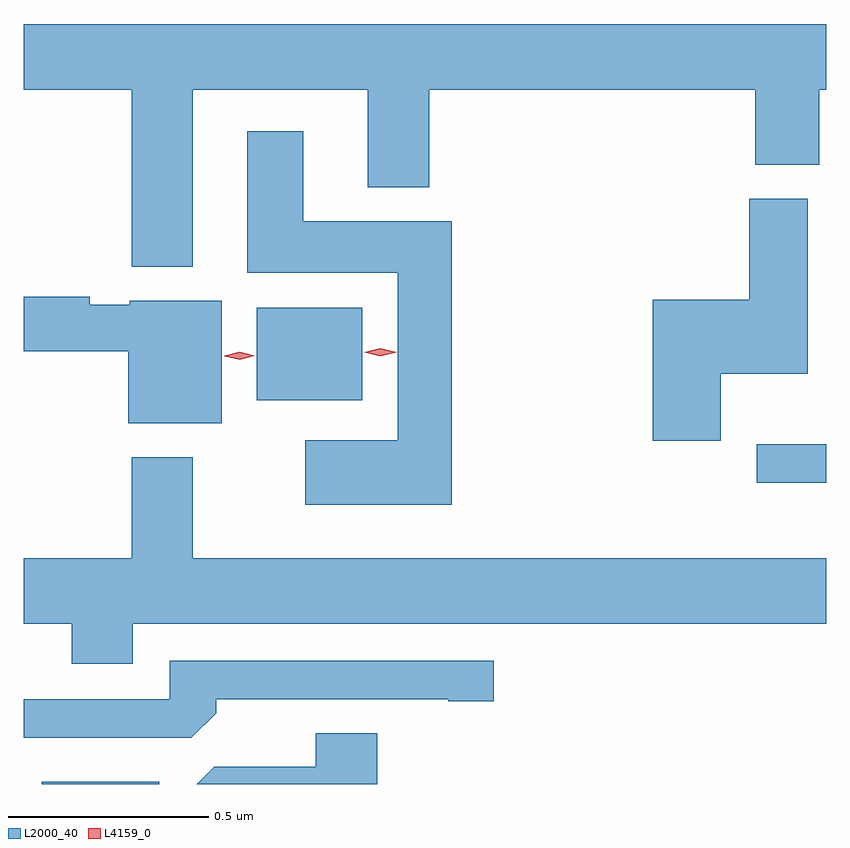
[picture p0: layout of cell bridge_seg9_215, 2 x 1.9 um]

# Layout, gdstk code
import gdstk
lib = gdstk.Library(unit=1e-6, precision=1e-09)
def R(c, l, rs):  # rectangles x0, y0, x1, y1
    for r in rs: c.add(gdstk.rectangle(r[:2], r[2:], *l))
def P(c, l, *ps):  # polygons
    for p in ps: c.add(gdstk.Polygon(p, *l))
L2000_40 = (2000, 40)
L4159_0 = (4159, 0)

bridge_seg9_215 = lib.new_cell('bridge_seg9_215')
R(bridge_seg9_215, L2000_40, [(230.852,1202.681,231.145,1202.686), (232.635,1203.432,232.808,1203.528), (231.389,1203.638,231.652,1203.868)])
P(bridge_seg9_215, L2000_40, [(231.229,1204.412),(231.665,1204.412),(231.665,1204.169),(231.818,1204.169),(231.818,1204.412),(232.631,1204.412),(232.631,1204.225),(232.791,1204.225),(232.791,1204.412),(232.808,1204.412),(232.808,1204.576),(230.808,1204.576),(230.808,1204.412),(231.077,1204.412),(231.077,1203.971),(231.229,1203.971)],
  [(231.875,1204.084),(231.505,1204.084),(231.505,1204.309),(231.365,1204.309),(231.365,1203.956),(231.74,1203.956),(231.74,1203.538),(231.51,1203.538),(231.51,1203.377),(231.875,1203.377)],
  [(232.546,1203.704),(232.762,1203.704),(232.762,1204.14),(232.616,1204.14),(232.616,1203.889),(232.376,1203.889),(232.376,1203.537),(232.546,1203.537)],
  [(231.301,1203.886),(231.072,1203.886),(231.072,1203.876),(230.972,1203.876),(230.972,1203.896),(230.808,1203.896),(230.808,1203.76),(231.068,1203.76),(231.068,1203.581),(231.301,1203.581)],
  [(231.079,1203.08),(232.808,1203.08),(232.808,1203.244),(231.229,1203.244),(231.229,1203.496),(231.077,1203.496),(231.077,1203.244),(230.808,1203.244),(230.808,1203.08),(230.927,1203.08),(230.927,1202.981),(231.079,1202.981)],
  [(231.287,1202.858),(231.287,1202.892),(231.866,1202.892),(231.866,1202.887),(231.979,1202.887),(231.979,1202.988),(231.171,1202.988),(231.171,1202.892),(230.808,1202.892),(230.808,1202.796),(231.225,1202.796)],
  [(231.689,1202.807),(231.536,1202.807),(231.536,1202.724),(231.282,1202.724),(231.239,1202.681),(231.689,1202.681)])
P(bridge_seg9_215, L4159_0, [(231.696,1203.747),(231.656,1203.757),(231.656,1203.757),(231.656,1203.757),(231.696,1203.767),(231.737,1203.757),(231.737,1203.757),(231.737,1203.757)],
  [(231.346,1203.739),(231.307,1203.748),(231.307,1203.749),(231.307,1203.749),(231.346,1203.759),(231.384,1203.749),(231.384,1203.749),(231.384,1203.749)])

lib.write_gds('bridge_seg9_215.gds')
